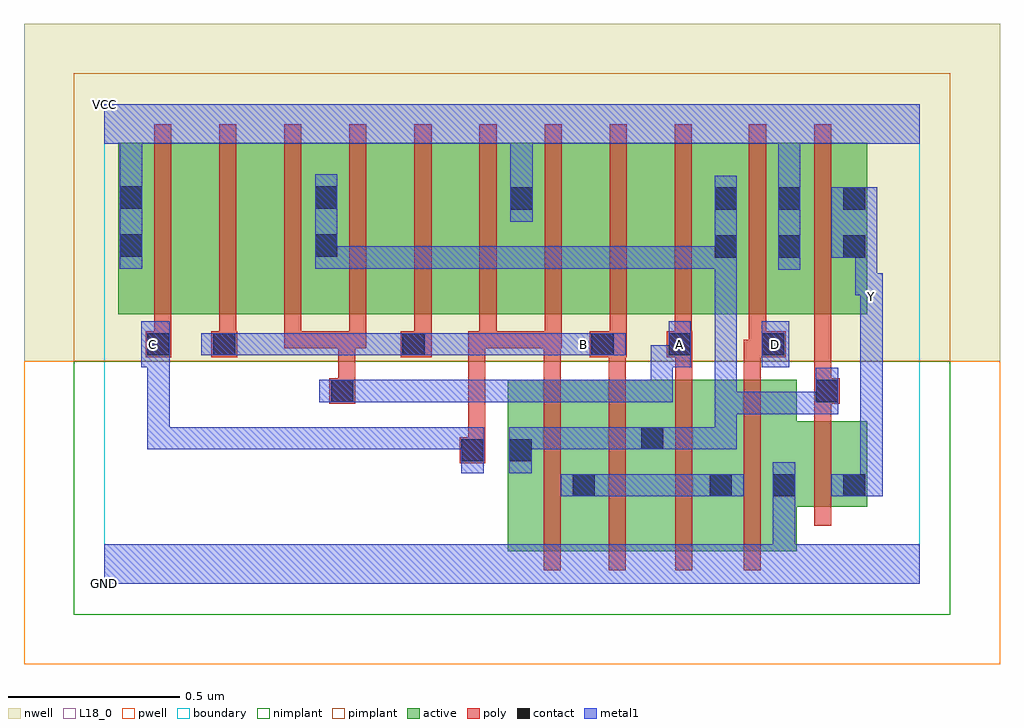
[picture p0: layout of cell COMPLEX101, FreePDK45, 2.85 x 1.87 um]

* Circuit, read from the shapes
.subckt COMPLEX101 A B C D GND VCC Y
M1 n1 C n2 VSUBS nfet w=0.5u l=0.05u
M2 n2 B n1 VSUBS nfet w=0.5u l=0.05u
M3 n1 A n2 VSUBS nfet w=0.5u l=0.05u
M4 GND D n1 VSUBS nfet w=0.5u l=0.05u
M5 Y n2 GND VSUBS nfet w=0.25u l=0.05u
M6 n3 C VCC n4 pfet w=0.5u l=0.05u
M7 n5 B n3 n4 pfet w=0.5u l=0.05u
M8 n2 A n5 n4 pfet w=0.5u l=0.05u
M9 n6 A n2 n4 pfet w=0.5u l=0.05u
M10 n7 B n6 n4 pfet w=0.5u l=0.05u
M11 VCC C n7 n4 pfet w=0.5u l=0.05u
M12 n8 C VCC n4 pfet w=0.5u l=0.05u
M13 n9 B n8 n4 pfet w=0.5u l=0.05u
M14 n2 A n9 n4 pfet w=0.5u l=0.05u
M15 VCC D n2 n4 pfet w=0.5u l=0.05u
M16 Y n2 VCC n4 pfet w=0.5u l=0.05u
.ends

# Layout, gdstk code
import gdstk
lib = gdstk.Library(unit=1e-6, precision=1e-09)
def R(c, l, rs):  # rectangles x0, y0, x1, y1
    for r in rs: c.add(gdstk.rectangle(r[:2], r[2:], *l))
def A(c, l, x, y, w, h, nx, ny, dx, dy):  # array of equal rectangles
    R(c, l, [(x+i*dx, y+j*dy, x+i*dx+w, y+j*dy+h) for i in range(nx) for j in range(ny)])
active = (1, 0)
pwell = (2, 0)
nwell = (3, 0)
nimplant = (4, 0)
pimplant = (5, 0)
poly = (9, 0)
contact = (10, 0)
metal1 = (11, 0)
L18_0 = (18, 0)
boundary = (235, 0)

complex101 = lib.new_cell('COMPLEX101')
A(complex101, active, 1.362, 0.095, 0.075, 0.497, 3, 1, 0.2, 0)
A(complex101, active, 0.04, 0.787, 0.225, 0.5, 3, 1, 0.57, 0)
A(complex101, active, 0.265, 0.787, 0.19, 0.5, 3, 1, 0.57, 0)
R(complex101, active, [(1.177,0.095,1.437,0.595), (1.177,0.095,1.252,0.595), (1.362,0.095,1.637,0.595), (1.562,0.095,1.837,0.595), (1.762,0.095,2.022,0.595), (1.947,0.095,2.022,0.47), (1.947,0.225,2.227,0.475), (2.152,0.225,2.227,0.475), (0.04,0.787,0.115,1.205), (0.455,0.787,0.685,1.287), (1.025,0.787,1.255,1.287), (1.595,0.787,1.852,1.287), (1.777,0.787,2.037,1.287), (1.962,0.787,2.227,1.287), (2.152,0.787,2.227,1.2), (0.61,0.807,0.685,1.2), (1.18,0.807,1.255,1.242), (1.777,0.807,1.852,1.2), (1.962,0.807,2.037,1.205)])
R(complex101, pwell, [(-0.235,-0.235,2.615,0.65)])
R(complex101, nwell, [(-0.235,0.65,2.615,1.635)])
R(complex101, nimplant, [(-0.09,-0.09,2.47,0.65)])
R(complex101, pimplant, [(-0.09,0.65,2.47,1.49)])
A(complex101, poly, 0.145, 0.687, 0.05, 0.095, 9, 1, 0.19, 0)
A(complex101, poly, 0.145, 0.732, 0.05, 0.61, 9, 1, 0.19, 0)
R(complex101, poly, [(1.282,0.04,1.332,0.65), (1.472,0.04,1.522,0.65), (1.667,0.04,1.717,0.65), (1.867,0.04,1.917,0.65), (2.072,0.17,2.122,0.53), (1.037,0.352,1.112,0.427), (1.062,0.377,1.112,0.737), (2.072,0.48,2.122,0.575), (0.657,0.525,0.732,0.6), (2.072,0.525,2.147,0.6), (0.682,0.55,0.732,0.737), (2.072,0.55,2.122,0.782), (2.072,0.55,2.122,0.6), (2.072,0.55,2.122,0.6), (1.282,0.6,1.332,0.737), (1.472,0.6,1.522,0.712), (1.667,0.6,1.717,0.712), (1.867,0.6,1.917,0.712), (0.12,0.662,0.195,0.737), (0.312,0.662,0.387,0.737), (0.865,0.662,0.955,0.737), (1.417,0.662,1.525,0.737), (1.472,0.662,1.522,0.712), (1.472,0.662,1.522,0.712), (1.642,0.662,1.717,0.737), (1.867,0.662,1.932,0.712), (1.882,0.662,1.932,0.712), (1.882,0.662,1.99,0.737), (0.145,0.687,0.195,0.737), (0.145,0.687,0.195,0.737), (0.525,0.687,0.575,0.737), (0.525,0.687,0.575,0.737), (0.525,0.687,0.575,0.737), (0.525,0.687,0.732,0.737), (0.682,0.687,0.765,0.737), (1.062,0.687,1.112,0.737), (1.062,0.687,1.112,0.737), (1.062,0.687,1.112,0.737), (1.062,0.687,1.112,0.737), (1.062,0.687,1.145,0.737), (1.095,0.687,1.332,0.737), (1.282,0.687,1.332,0.737), (1.282,0.687,1.332,0.737), (1.282,0.687,1.332,0.737), (1.282,0.687,1.332,0.737), (1.282,0.687,1.335,0.737), (1.665,0.687,1.715,0.737), (1.665,0.687,1.715,0.737), (1.882,0.687,1.932,0.782), (1.882,0.732,1.932,1.342), (2.072,0.732,2.122,1.342)])
R(complex101, contact, [(1.367,0.255,1.432,0.32), (1.767,0.255,1.832,0.32), (1.952,0.255,2.017,0.32), (2.157,0.255,2.222,0.32), (1.042,0.357,1.107,0.422), (1.182,0.357,1.247,0.422), (1.567,0.392,1.632,0.457), (0.662,0.53,0.727,0.595), (2.077,0.53,2.142,0.595), (0.125,0.667,0.19,0.732), (0.317,0.667,0.382,0.732), (0.87,0.667,0.935,0.732), (1.422,0.667,1.487,0.732), (1.647,0.667,1.712,0.732), (1.92,0.667,1.985,0.732), (1.782,0.952,1.847,1.017), (1.967,0.952,2.032,1.017), (2.157,0.952,2.222,1.017), (0.045,0.955,0.11,1.02), (0.615,0.955,0.68,1.02), (1.185,1.092,1.25,1.157), (1.782,1.092,1.847,1.157), (1.967,1.092,2.032,1.157), (2.157,1.092,2.222,1.157), (0.045,1.095,0.11,1.16), (0.615,1.095,0.68,1.16)])
R(complex101, metal1, [(0,0,2.38,0.115), (1.952,0.05,2.017,0.285), (1.952,0.22,2.017,0.355), (1.332,0.255,1.467,0.32), (1.402,0.255,1.467,0.32), (1.402,0.255,1.467,0.32), (1.402,0.255,1.605,0.32), (1.54,0.255,1.605,0.32), (1.54,0.255,1.605,0.32), (1.54,0.255,1.605,0.32), (1.54,0.255,1.797,0.32), (1.732,0.255,1.867,0.32), (2.122,0.255,2.272,0.32), (2.207,0.255,2.272,0.837), (1.042,0.322,1.107,0.457), (1.182,0.322,1.247,0.457), (0.125,0.392,0.19,0.457), (0.125,0.392,0.327,0.457), (0.125,0.392,0.19,0.697), (0.262,0.392,0.327,0.457), (0.262,0.392,0.327,0.457), (0.262,0.392,0.327,0.457), (0.262,0.392,0.555,0.457), (0.49,0.392,0.555,0.457), (0.49,0.392,0.555,0.457), (0.49,0.392,0.555,0.457), (0.49,0.392,0.692,0.457), (0.627,0.392,0.692,0.457), (0.627,0.392,0.97,0.457), (0.905,0.392,0.97,0.457), (0.905,0.392,0.97,0.457), (0.905,0.392,0.97,0.457), (0.905,0.392,1.107,0.457), (1.042,0.392,1.107,0.457), (1.042,0.392,1.107,0.457), (1.042,0.392,1.107,0.457), (1.042,0.392,1.107,0.457), (1.182,0.392,1.247,0.457), (1.182,0.392,1.247,0.457), (1.182,0.392,1.46,0.457), (1.395,0.392,1.46,0.457), (1.395,0.392,1.46,0.457), (1.395,0.392,1.46,0.457), (1.395,0.392,1.597,0.457), (1.532,0.392,1.667,0.457), (1.602,0.392,1.667,0.457), (1.602,0.392,1.667,0.457), (1.602,0.392,1.847,0.457), (1.782,0.392,1.847,0.457), (1.782,0.392,1.847,0.56), (1.782,0.495,1.847,0.56), (1.782,0.495,1.985,0.56), (1.782,0.495,1.847,0.982), (1.92,0.495,1.985,0.56), (1.92,0.495,1.985,0.56), (1.92,0.495,1.985,0.56), (1.92,0.495,2.142,0.56), (2.077,0.495,2.142,0.63), (0.627,0.53,0.762,0.595), (0.697,0.53,0.97,0.595), (0.905,0.53,0.97,0.595), (0.905,0.53,0.97,0.595), (0.905,0.53,0.97,0.595), (0.905,0.53,1.107,0.595), (1.042,0.53,1.107,0.595), (1.042,0.53,1.107,0.595), (1.042,0.53,1.107,0.595), (1.042,0.53,1.247,0.595), (1.182,0.53,1.247,0.595), (1.182,0.53,1.247,0.595), (1.182,0.53,1.247,0.595), (1.182,0.53,1.46,0.595), (1.395,0.53,1.46,0.595), (1.395,0.53,1.46,0.595), (1.395,0.53,1.46,0.595), (1.395,0.53,1.66,0.595), (1.595,0.53,1.66,0.697), (0.107,0.632,0.19,0.767), (0.125,0.632,0.19,0.697), (0.125,0.632,0.19,0.697), (1.595,0.632,1.712,0.697), (1.647,0.632,1.712,0.767), (1.92,0.632,2,0.767), (0.282,0.667,0.417,0.732), (0.352,0.667,0.417,0.732), (0.352,0.667,0.417,0.732), (0.352,0.667,0.555,0.732), (0.49,0.667,0.555,0.732), (0.49,0.667,0.555,0.732), (0.49,0.667,0.555,0.732), (0.49,0.667,0.762,0.732), (0.697,0.667,0.762,0.732), (0.697,0.667,0.9,0.732), (0.835,0.667,0.9,0.732), (0.835,0.667,0.9,0.732), (0.835,0.667,0.97,0.732), (0.905,0.667,1.107,0.732), (1.042,0.667,1.107,0.732), (1.042,0.667,1.107,0.732), (1.042,0.667,1.107,0.732), (1.042,0.667,1.26,0.732), (1.195,0.667,1.26,0.732), (1.195,0.667,1.26,0.732), (1.195,0.667,1.26,0.732), (1.195,0.667,1.397,0.732), (1.332,0.667,1.397,0.732), (1.332,0.667,1.397,0.732), (1.332,0.667,1.522,0.732), (2.207,0.772,2.272,0.907), (2.192,0.842,2.257,1.017), (2.192,0.842,2.272,0.907), (2.207,0.842,2.272,0.907), (1.782,0.917,1.847,0.982), (1.782,0.917,1.847,0.982), (1.782,0.917,1.847,1.192), (1.967,0.917,2.032,1.192), (0.045,0.92,0.11,1.195), (0.615,0.92,0.68,1.195), (0.615,0.92,0.692,0.985), (0.627,0.92,0.692,0.985), (0.627,0.92,0.97,0.985), (0.905,0.92,0.97,0.985), (0.905,0.92,0.97,0.985), (0.905,0.92,0.97,0.985), (0.905,0.92,1.11,0.985), (1.045,0.92,1.11,0.985), (1.045,0.92,1.11,0.985), (1.045,0.92,1.11,0.985), (1.045,0.92,1.26,0.985), (1.195,0.92,1.26,0.985), (1.195,0.92,1.26,0.985), (1.195,0.92,1.26,0.985), (1.195,0.92,1.397,0.985), (1.332,0.92,1.397,0.985), (1.332,0.92,1.397,0.985), (1.332,0.92,1.397,0.985), (1.332,0.92,1.66,0.985), (1.595,0.92,1.66,0.985), (1.595,0.92,1.847,0.985), (1.782,0.92,1.847,0.985), (1.782,0.92,1.847,0.985), (2.122,0.952,2.257,1.157), (1.185,1.057,1.25,1.192), (1.185,1.127,1.25,1.35), (1.967,1.127,2.032,1.35), (0.045,1.13,0.11,1.35), (0,1.285,2.38,1.4)])
A(complex101, L18_0, 1.367, 0.667, 0.065, 0.065, 3, 1, 0.28, 0)
R(complex101, L18_0, [(0,0,2.38,0.115), (1.952,0.05,2.017,0.285), (1.952,0.22,2.017,0.355), (2.122,0.255,2.272,0.32), (2.207,0.255,2.272,0.837), (1.042,0.322,1.107,0.457), (0.125,0.392,0.19,0.457), (0.125,0.392,0.19,0.697), (0.125,0.392,0.327,0.457), (0.262,0.392,0.327,0.457), (0.262,0.392,0.327,0.457), (0.262,0.392,0.327,0.457), (0.262,0.392,0.555,0.457), (0.49,0.392,0.555,0.457), (0.49,0.392,0.555,0.457), (0.49,0.392,0.555,0.457), (0.49,0.392,0.692,0.457), (0.627,0.392,0.692,0.457), (0.627,0.392,0.97,0.457), (0.905,0.392,0.97,0.457), (0.905,0.392,0.97,0.457), (0.905,0.392,0.97,0.457), (0.905,0.392,1.107,0.457), (1.042,0.392,1.107,0.457), (1.042,0.392,1.107,0.457), (1.042,0.392,1.107,0.457), (1.042,0.392,1.107,0.457), (0.627,0.53,0.762,0.595), (0.697,0.53,0.97,0.595), (0.905,0.53,0.97,0.595), (0.905,0.53,0.97,0.595), (0.905,0.53,0.97,0.595), (0.905,0.53,1.107,0.595), (1.042,0.53,1.107,0.595), (1.042,0.53,1.107,0.595), (1.042,0.53,1.107,0.595), (1.042,0.53,1.247,0.595), (1.182,0.53,1.247,0.595), (1.182,0.53,1.247,0.595), (1.182,0.53,1.247,0.595), (1.182,0.53,1.46,0.595), (1.395,0.53,1.46,0.595), (1.395,0.53,1.46,0.595), (1.395,0.53,1.46,0.595), (1.395,0.53,1.66,0.595), (1.595,0.53,1.66,0.697), (0.107,0.632,0.19,0.767), (0.125,0.632,0.19,0.697), (0.125,0.632,0.19,0.697), (1.595,0.632,1.712,0.697), (1.647,0.632,1.712,0.767), (1.92,0.632,2,0.767), (0.107,0.667,0.172,0.732), (0.282,0.667,0.417,0.732), (0.352,0.667,0.417,0.732), (0.352,0.667,0.417,0.732), (0.352,0.667,0.555,0.732), (0.49,0.667,0.555,0.732), (0.49,0.667,0.555,0.732), (0.49,0.667,0.555,0.732), (0.49,0.667,0.762,0.732), (0.697,0.667,0.762,0.732), (0.697,0.667,0.9,0.732), (0.835,0.667,0.9,0.732), (0.835,0.667,0.9,0.732), (0.835,0.667,0.97,0.732), (0.905,0.667,1.107,0.732), (1.042,0.667,1.107,0.732), (1.042,0.667,1.107,0.732), (1.042,0.667,1.107,0.732), (1.042,0.667,1.26,0.732), (1.195,0.667,1.26,0.732), (1.195,0.667,1.26,0.732), (1.195,0.667,1.26,0.732), (1.195,0.667,1.397,0.732), (1.332,0.667,1.397,0.732), (1.332,0.667,1.397,0.732), (1.332,0.667,1.522,0.732), (2.207,0.772,2.272,0.907), (2.207,0.807,2.272,0.872), (2.192,0.842,2.272,0.907), (2.192,0.842,2.257,1.017), (2.207,0.842,2.272,0.907), (1.967,0.917,2.032,1.192), (0.045,0.92,0.11,1.195), (2.122,0.952,2.257,1.157), (1.185,1.057,1.25,1.192), (1.185,1.127,1.25,1.35), (1.967,1.127,2.032,1.35), (0.045,1.13,0.11,1.35), (0,1.285,2.38,1.4)])
R(complex101, boundary, [(0,0,2.38,1.4)])
complex101.add(gdstk.Label('A', (1.68,0.7), layer=11, texttype=0))
complex101.add(gdstk.Label('B', (1.4,0.7), layer=11, texttype=0))
complex101.add(gdstk.Label('C', (0.14,0.7), layer=11, texttype=0))
complex101.add(gdstk.Label('D', (1.96,0.7), layer=11, texttype=0))
complex101.add(gdstk.Label('Y', (2.24,0.84), layer=11, texttype=0))
complex101.add(gdstk.Label('VCC', (0,1.4), layer=11, texttype=0))
complex101.add(gdstk.Label('GND', (0,0), layer=11, texttype=0))

lib.write_gds('COMPLEX101.gds')
